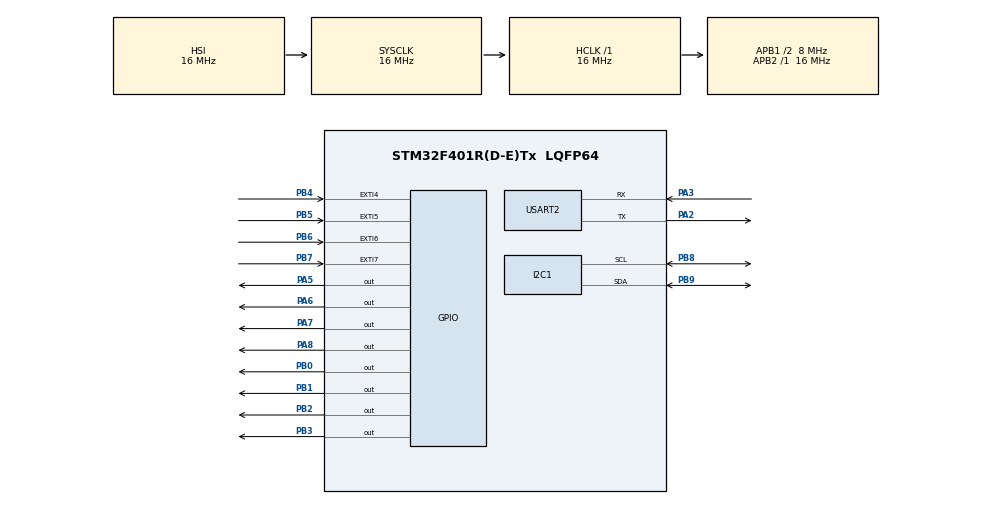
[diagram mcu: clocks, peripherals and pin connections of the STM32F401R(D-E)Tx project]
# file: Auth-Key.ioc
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Mcu.Family=STM32F4
Mcu.Name=STM32F401R(D-E)Tx
Mcu.Package=LQFP64
NVIC.EXTI4_IRQn=true\:0\:0\:false\:false\:true\:true\:true\:true
NVIC.EXTI9_5_IRQn=true\:0\:0\:false\:false\:true\:true\:true\:true
NVIC.PriorityGroup=NVIC_PRIORITYGROUP_4
PA13.Mode=Serial_Wire
PA13.Signal=SYS_JTMS-SWDIO
PA14.Mode=Serial_Wire
PA14.Signal=SYS_JTCK-SWCLK
PA2.Mode=Asynchronous
PA2.Signal=USART2_TX
PA3.Mode=Asynchronous
PA3.Signal=USART2_RX
PA5.Signal=GPIO_Output
PA6.Signal=GPIO_Output
PA7.Signal=GPIO_Output
PA8.Signal=GPIO_Output
PB0.Signal=GPIO_Output
PB1.Signal=GPIO_Output
PB2.Signal=GPIO_Output
PB3.Signal=GPIO_Output
PB4.GPIO_ModeDefaultEXTI=GPIO_MODE_IT_FALLING
PB4.Signal=GPXTI4
PB5.GPIO_ModeDefaultEXTI=GPIO_MODE_IT_FALLING
PB5.Signal=GPXTI5
PB6.GPIO_ModeDefaultEXTI=GPIO_MODE_IT_FALLING
PB6.Signal=GPXTI6
PB7.GPIO_ModeDefaultEXTI=GPIO_MODE_IT_FALLING
PB7.Signal=GPXTI7
PB8.Mode=I2C
PB8.Signal=I2C1_SCL
PB9.Mode=I2C
PB9.Signal=I2C1_SDA
ProjectManager.HeapSize=0x200
ProjectManager.StackSize=0x400
ProjectManager.TargetToolchain=STM32CubeIDE
RCC.48MHZClocksFreq_Value=84000000
RCC.AHBFreq_Value=16000000
RCC.APB1CLKDivider=RCC_HCLK_DIV2
RCC.APB1Freq_Value=8000000
RCC.APB1TimFreq_Value=16000000
RCC.APB2Freq_Value=16000000
RCC.APB2TimFreq_Value=16000000
RCC.CortexFreq_Value=16000000
RCC.HCLKFreq_Value=16000000
RCC.HSE_VALUE=25000000
RCC.HSI_VALUE=16000000
RCC.LSE_VALUE=32768
RCC.PLLN=336
RCC.PLLP=RCC_PLLP_DIV4
RCC.SYSCLKFreq_VALUE=16000000
RCC.VCOOutputFreq_Value=336000000
TIM2.Prescaler=15
USART2.VirtualMode=VM_ASYNC
VP_TIM2_VS_ClockSourceINT.Mode=Internal
board=custom

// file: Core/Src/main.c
/* USER CODE BEGIN Header */
/**
  ******************************************************************************
  * @file           : main.c
  * @brief          : Main program body
  ******************************************************************************
  * @attention
  *
  * Copyright (c) 2026 STMicroelectronics.
  * All rights reserved.
  *
  * This software is licensed under terms that can be found in the LICENSE file
  * in the root directory of this software component.
  * If no LICENSE file comes with this software, it is provided AS-IS.
  *
  ******************************************************************************
  */
/* USER CODE END Header */
#include "main.h"

/* USER CODE BEGIN Includes */
#include <stdio.h>
#include <string.h>
#include "i2c-lcd.h"
/* USER CODE END Includes */

I2C_HandleTypeDef hi2c1;

TIM_HandleTypeDef htim2;

UART_HandleTypeDef huart2;

void SystemClock_Config(void);
static void MX_GPIO_Init(void);
static void MX_USART2_UART_Init(void);
static void MX_TIM2_Init(void);
static void MX_I2C1_Init(void);

/* USER CODE BEGIN 0 */
volatile uint8_t key_pressed_flag = 0;
char scan_keypad(void);

// Virtual Terminal Printf Override
#ifdef __GNUC__
#define PUTCHAR_PROTOTYPE int __io_putchar(int ch)
#else
#define PUTCHAR_PROTOTYPE int fputc(int ch, FILE *f)
#endif

PUTCHAR_PROTOTYPE
{
  HAL_UART_Transmit(&huart2, (uint8_t *)&ch, 1, HAL_MAX_DELAY);
  return ch;
}
/* USER CODE END 0 */

int main(void)
{

  /* MCU Configuration--------------------------------------------------------*/

  /* Reset of all peripherals, Initializes the Flash interface and the Systick. */
  HAL_Init();

  /* Configure the system clock */
  SystemClock_Config();

  /* Initialize all configured peripherals */
  MX_GPIO_Init();
  MX_USART2_UART_Init();
  MX_TIM2_Init();
  MX_I2C1_Init();
  /* USER CODE BEGIN 2 */
  lcd_init();
  lcd_send_string("System Ready");

  char input_buffer[5];
  uint8_t buffer_index = 0;
  char master_password[] = "1234"; // Set your target PIN here

  // Ensure rows start LOW to enable EXTI triggers
  HAL_GPIO_WritePin(GPIOB, GPIO_PIN_0|GPIO_PIN_1|GPIO_PIN_2|GPIO_PIN_3, GPIO_PIN_RESET);

  printf("System Initialized. Enter PIN:\r\n");
  /* USER CODE END 2 */

  /* Infinite loop */
  /* USER CODE BEGIN WHILE */
  while (1)
  {
      if (key_pressed_flag == 1)
      {
          HAL_Delay(50); // Software debounce

          char key = scan_keypad();

          if (key != '\0')
          {
              printf("Key: %c\r\n", key); // Send to Virtual Terminal

              // Handle clearing the buffer
              if (key == 'C') {
                  buffer_index = 0;
                  memset(input_buffer, 0, sizeof(input_buffer));
                  printf("Cleared.\r\n");
              }
              // Store numbers/characters
              else if (buffer_index < 4) {
                  input_buffer[buffer_index] = key;
                  buffer_index++;
              }

              // Check password when 4 keys are entered
              if (buffer_index == 4)
              {
                  input_buffer[4] = '\0'; // Null-terminate

                  if (strcmp(input_buffer, master_password) == 0) {
                      printf("ACCESS GRANTED\r\n");
                      HAL_GPIO_WritePin(GPIOA, GPIO_PIN_8, GPIO_PIN_SET); // Green LED ON
                      HAL_GPIO_WritePin(GPIOA, GPIO_PIN_5, GPIO_PIN_SET); // Relay ON
                      HAL_Delay(3000); // Hold open for 3 seconds
                      HAL_GPIO_WritePin(GPIOA, GPIO_PIN_8|GPIO_PIN_5, GPIO_PIN_RESET); // Turn off
                  } else {
                      printf("ACCESS DENIED\r\n");
                      HAL_GPIO_WritePin(GPIOA, GPIO_PIN_7, GPIO_PIN_SET); // Red LED ON
                      HAL_GPIO_WritePin(GPIOA, GPIO_PIN_6, GPIO_PIN_SET); // Buzzer ON
                      HAL_Delay(1000); // Alarm for 1 second
                      HAL_GPIO_WritePin(GPIOA, GPIO_PIN_7|GPIO_PIN_6, GPIO_PIN_RESET); // Turn off
                  }

                  buffer_index = 0;
                  memset(input_buffer, 0, sizeof(input_buffer));
              }
          }
          key_pressed_flag = 0; // Clear the flag
      }
    /* USER CODE END WHILE */

  }
}

void SystemClock_Config(void)
{
  RCC_OscInitTypeDef RCC_OscInitStruct = {0};
  RCC_ClkInitTypeDef RCC_ClkInitStruct = {0};

  /** Configure the main internal regulator output voltage
  */
  __HAL_RCC_PWR_CLK_ENABLE();
  __HAL_PWR_VOLTAGESCALING_CONFIG(PWR_REGULATOR_VOLTAGE_SCALE2);

  /** Initializes the RCC Oscillators according to the specified parameters
  * in the RCC_OscInitTypeDef structure.
  */
  RCC_OscInitStruct.OscillatorType = RCC_OSCILLATORTYPE_HSI;
  RCC_OscInitStruct.HSIState = RCC_HSI_ON;
  RCC_OscInitStruct.HSICalibrationValue = RCC_HSICALIBRATION_DEFAULT;
  RCC_OscInitStruct.PLL.PLLState = RCC_PLL_NONE;
  if (HAL_RCC_OscConfig(&RCC_OscInitStruct) != HAL_OK)
  {
    Error_Handler();
  }

  /** Initializes the CPU, AHB and APB buses clocks
  */
  RCC_ClkInitStruct.ClockType = RCC_CLOCKTYPE_HCLK|RCC_CLOCKTYPE_SYSCLK
                              |RCC_CLOCKTYPE_PCLK1|RCC_CLOCKTYPE_PCLK2;
  RCC_ClkInitStruct.SYSCLKSource = RCC_SYSCLKSOURCE_HSI;
  RCC_ClkInitStruct.AHBCLKDivider = RCC_SYSCLK_DIV1;
  RCC_ClkInitStruct.APB1CLKDivider = RCC_HCLK_DIV2;
  RCC_ClkInitStruct.APB2CLKDivider = RCC_HCLK_DIV1;

  if (HAL_RCC_ClockConfig(&RCC_ClkInitStruct, FLASH_LATENCY_0) != HAL_OK)
  {
    Error_Handler();
  }
}

static void MX_I2C1_Init(void)
{

  hi2c1.Instance = I2C1;
  hi2c1.Init.ClockSpeed = 100000;
  hi2c1.Init.DutyCycle = I2C_DUTYCYCLE_2;
  hi2c1.Init.OwnAddress1 = 0;
  hi2c1.Init.AddressingMode = I2C_ADDRESSINGMODE_7BIT;
  hi2c1.Init.DualAddressMode = I2C_DUALADDRESS_DISABLE;
  hi2c1.Init.OwnAddress2 = 0;
  hi2c1.Init.GeneralCallMode = I2C_GENERALCALL_DISABLE;
  hi2c1.Init.NoStretchMode = I2C_NOSTRETCH_DISABLE;
  if (HAL_I2C_Init(&hi2c1) != HAL_OK)
  {
    Error_Handler();
  }

}

static void MX_TIM2_Init(void)
{

  TIM_ClockConfigTypeDef sClockSourceConfig = {0};
  TIM_MasterConfigTypeDef sMasterConfig = {0};

  htim2.Instance = TIM2;
  htim2.Init.Prescaler = 15;
  htim2.Init.CounterMode = TIM_COUNTERMODE_UP;
  htim2.Init.Period = 4294967295;
  htim2.Init.ClockDivision = TIM_CLOCKDIVISION_DIV1;
  htim2.Init.AutoReloadPreload = TIM_AUTORELOAD_PRELOAD_DISABLE;
  if (HAL_TIM_Base_Init(&htim2) != HAL_OK)
  {
    Error_Handler();
  }
  sClockSourceConfig.ClockSource = TIM_CLOCKSOURCE_INTERNAL;
  if (HAL_TIM_ConfigClockSource(&htim2, &sClockSourceConfig) != HAL_OK)
  {
    Error_Handler();
  }
  sMasterConfig.MasterOutputTrigger = TIM_TRGO_RESET;
  sMasterConfig.MasterSlaveMode = TIM_MASTERSLAVEMODE_DISABLE;
  if (HAL_TIMEx_MasterConfigSynchronization(&htim2, &sMasterConfig) != HAL_OK)
  {
    Error_Handler();
  }

}

static void MX_USART2_UART_Init(void)
{

  huart2.Instance = USART2;
  huart2.Init.BaudRate = 115200;
  huart2.Init.WordLength = UART_WORDLENGTH_8B;
  huart2.Init.StopBits = UART_STOPBITS_1;
  huart2.Init.Parity = UART_PARITY_NONE;
  huart2.Init.Mode = UART_MODE_TX_RX;
  huart2.Init.HwFlowCtl = UART_HWCONTROL_NONE;
  huart2.Init.OverSampling = UART_OVERSAMPLING_16;
  if (HAL_UART_Init(&huart2) != HAL_OK)
  {
    Error_Handler();
  }

}

static void MX_GPIO_Init(void)
{
  GPIO_InitTypeDef GPIO_InitStruct = {0};

  /* GPIO Ports Clock Enable */
  __HAL_RCC_GPIOA_CLK_ENABLE();
  __HAL_RCC_GPIOB_CLK_ENABLE();

  /*Configure GPIO pin Output Level */
  HAL_GPIO_WritePin(GPIOA, GPIO_PIN_5|GPIO_PIN_6|GPIO_PIN_7|GPIO_PIN_8, GPIO_PIN_RESET);

  /*Configure GPIO pin Output Level */
  HAL_GPIO_WritePin(GPIOB, GPIO_PIN_0|GPIO_PIN_1|GPIO_PIN_2|GPIO_PIN_3, GPIO_PIN_RESET);

  /*Configure GPIO pins : PA5 PA6 PA7 PA8 */
  GPIO_InitStruct.Pin = GPIO_PIN_5|GPIO_PIN_6|GPIO_PIN_7|GPIO_PIN_8;
  GPIO_InitStruct.Mode = GPIO_MODE_OUTPUT_PP;
  GPIO_InitStruct.Pull = GPIO_NOPULL;
  GPIO_InitStruct.Speed = GPIO_SPEED_FREQ_LOW;
  HAL_GPIO_Init(GPIOA, &GPIO_InitStruct);

  /*Configure GPIO pins : PB0 PB1 PB2 PB3 */
  GPIO_InitStruct.Pin = GPIO_PIN_0|GPIO_PIN_1|GPIO_PIN_2|GPIO_PIN_3;
  GPIO_InitStruct.Mode = GPIO_MODE_OUTPUT_PP;
  GPIO_InitStruct.Pull = GPIO_NOPULL;
  GPIO_InitStruct.Speed = GPIO_SPEED_FREQ_LOW;
  HAL_GPIO_Init(GPIOB, &GPIO_InitStruct);

  /*Configure GPIO pins : PB4 PB5 PB6 PB7 */
  GPIO_InitStruct.Pin = GPIO_PIN_4|GPIO_PIN_5|GPIO_PIN_6|GPIO_PIN_7;
  GPIO_InitStruct.Mode = GPIO_MODE_IT_FALLING;
  GPIO_InitStruct.Pull = GPIO_NOPULL;
  HAL_GPIO_Init(GPIOB, &GPIO_InitStruct);

  /* EXTI interrupt init*/
  HAL_NVIC_SetPriority(EXTI4_IRQn, 0, 0);
  HAL_NVIC_EnableIRQ(EXTI4_IRQn);

  HAL_NVIC_SetPriority(EXTI9_5_IRQn, 0, 0);
  HAL_NVIC_EnableIRQ(EXTI9_5_IRQn);

}

/* USER CODE BEGIN 4 */

void HAL_GPIO_EXTI_Callback(uint16_t GPIO_Pin)
{
    // Check if the interrupt came from Columns PB4, PB5, PB6, or PB7
    if(GPIO_Pin == GPIO_PIN_4 || GPIO_Pin == GPIO_PIN_5 ||
       GPIO_Pin == GPIO_PIN_6 || GPIO_Pin == GPIO_PIN_7)
    {
        key_pressed_flag = 1;
    }
}
char scan_keypad(void)
{
    // Match this layout to your Proteus Keypad
    char keys[4][4] = {
        {'7', '8', '9', '/'},
        {'4', '5', '6', 'X'},
        {'1', '2', '3', '-'},
        {'C', '0', '=', '+'}
    };

    uint16_t row_pins[4] = {GPIO_PIN_0, GPIO_PIN_1, GPIO_PIN_2, GPIO_PIN_3};
    uint16_t col_pins[4] = {GPIO_PIN_4, GPIO_PIN_5, GPIO_PIN_6, GPIO_PIN_7};

    for (int r = 0; r < 4; r++)
    {
        // Set all rows HIGH
        HAL_GPIO_WritePin(GPIOB, GPIO_PIN_0|GPIO_PIN_1|GPIO_PIN_2|GPIO_PIN_3, GPIO_PIN_SET);
        // Set current row LOW
        HAL_GPIO_WritePin(GPIOB, row_pins[r], GPIO_PIN_RESET);

        // Micro-delay for hardware voltage to settle
        for(volatile int i=0; i<200; i++);

        for (int c = 0; c < 4; c++)
        {
            if (HAL_GPIO_ReadPin(GPIOB, col_pins[c]) == GPIO_PIN_RESET)
            {
                // Wait for the user to lift their finger (debounce)
                while(HAL_GPIO_ReadPin(GPIOB, col_pins[c]) == GPIO_PIN_RESET);

                // Reset all rows LOW so the next EXTI interrupt works
                HAL_GPIO_WritePin(GPIOB, GPIO_PIN_0|GPIO_PIN_1|GPIO_PIN_2|GPIO_PIN_3, GPIO_PIN_RESET);
                return keys[r][c];
            }
        }
    }

    // Reset all rows LOW before exiting
    HAL_GPIO_WritePin(GPIOB, GPIO_PIN_0|GPIO_PIN_1|GPIO_PIN_2|GPIO_PIN_3, GPIO_PIN_RESET);
    return '\0';
}
/* USER CODE END 4 */

void Error_Handler(void)
{
  __disable_irq();
  while (1)
  {
  }
}
